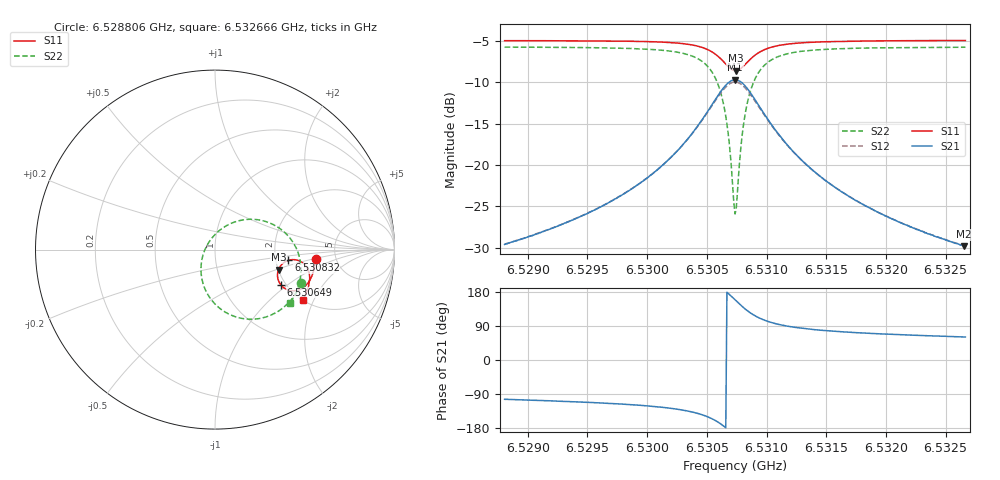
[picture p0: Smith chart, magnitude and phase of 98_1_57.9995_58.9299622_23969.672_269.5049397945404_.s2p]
#  HZ  S  RI  R  50.00
! Rohde & Schwarz Vector Network Analyzer
! Rohde-Schwarz,ZNB20-2Port,1311601062101988,3.16
! Created: UTC 3/21/2024, 12:54:41 AM
! freq[Hz]  re:S11  im:S11  re:S21  im:S21  re:S12  im:S12  re:S22  im:S22
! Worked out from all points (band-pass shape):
!   401 points, 6.528806 GHz to 6.532666 GHz, reference 50 ohm
!   highest |S21| = -9.70 dB at 6.530736 GHz (marker M1); lowest = -29.8 dB at 6.532656 GHz (marker M2)
!   |S21| within 3 dB of the highest: 6.530544 GHz to 6.53093 GHz (386 kHz wide, 0.00591 % of centre)
!   lowest |S11| = -8.6 dB at 6.530746 GHz (marker M3), VSWR 2.18, Z = 100 - j25.9 ohm
!   |S11| at or under -10 dB: nowhere
!   |S22| runs from -25.9 to -5.8 dB; largest |S21 - S12| = 0.014
!   S11 on the Smith chart (normalised r, x): 6.528806 GHz: 3.48, -0.56; 6.530649 GHz: 1.88, -0.88; 6.530832 GHz: 2.35, -0.34; 6.532666 GHz: 2.01, -1.66
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6.5288059e9  0.5607 -0.0551  -0.00785 -0.0322  -0.0085 -0.0321  0.4807 -0.1845
6.5294525e9  0.5513 -0.1104  -0.0178 -0.0459  -0.0188 -0.0456  0.4484 -0.2469
6.5298288e9  0.5397 -0.1469  -0.0314 -0.061  -0.033 -0.0603  0.4126 -0.2932
6.530099e9  0.524 -0.1781  -0.0533 -0.0792  -0.0556 -0.0777  0.3631 -0.3367
6.5303209e9  0.4964 -0.2085  -0.0953 -0.1001  -0.0983 -0.0969  0.2778 -0.3772
6.530485e9  0.4509 -0.2287  -0.1676 -0.108  -0.1703 -0.1008  0.1444 -0.3824
6.5305815e9  0.4033 -0.2234  -0.2419 -0.0807  -0.2411 -0.0701  0.0202 -0.322
6.530649e9  0.3657 -0.1947  -0.2972 -0.0193  -0.2907 -0.00799  -0.0606 -0.2071
6.530678e9  0.3539 -0.1732  -0.3122 0.0218  -0.3029 0.0315  -0.0769 -0.1365
6.5307166e9  0.3482 -0.1382  -0.3139 0.0852  -0.3023 0.0913  -0.0674 -0.032
6.5307359e9  0.3511 -0.12  -0.3055 0.1175  -0.2932 0.1213  -0.047 0.0187
6.5307455e9  0.354 -0.1111  -0.2989 0.1327  -0.2865 0.1355  -0.0333 0.0423
6.5307552e9  0.3577 -0.1029  -0.2907 0.1472  -0.2785 0.1489  -0.0172 0.0645
6.5307938e9  0.3801 -0.0752  -0.2472 0.1939  -0.2368 0.192  0.0627 0.1327
6.5308324e9  0.4087 -0.0599  -0.1953 0.2191  -0.1878 0.2156  0.1527 0.1649
6.5308999e9  0.4547 -0.0579  -0.115 0.2223  -0.1113 0.2187  0.2877 0.1548
6.5309964e9  0.4955 -0.0799  -0.0455 0.1902  -0.0438 0.1882  0.4001 0.084
6.5311411e9  0.5201 -0.1165  -0.00311 0.141  -0.00195 0.1402  0.4625 -0.0159
6.5313824e9  0.5275 -0.1605  0.015 0.0923  0.0162 0.092  0.4792 -0.1178
6.5320289e9  0.5129 -0.2314  0.018 0.0446  0.0187 0.0442  0.4525 -0.2374
6.5326561e9  0.4903 -0.2807  0.0158 0.0282  0.0164 0.0282  0.4202 -0.2968
6.5326658e9  0.4901 -0.2814  0.0159 0.0282  0.0163 0.028  0.4196 -0.2976
